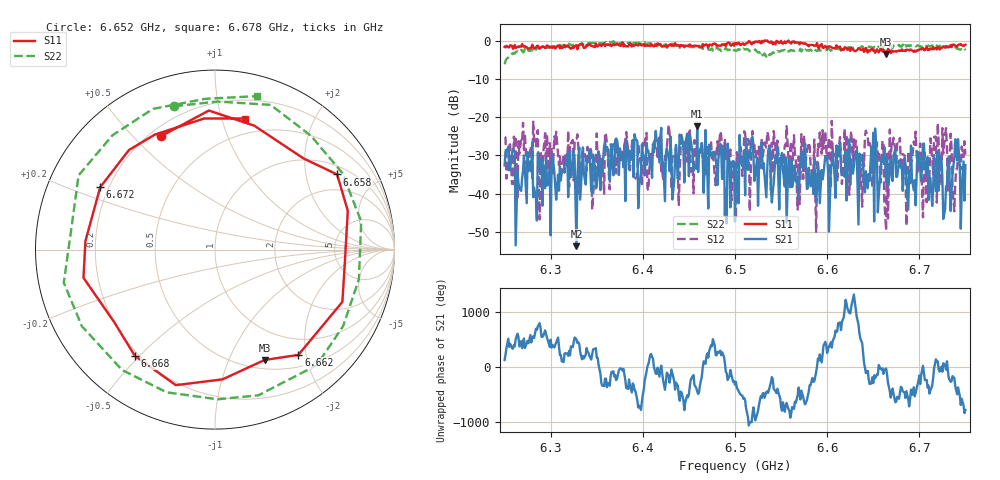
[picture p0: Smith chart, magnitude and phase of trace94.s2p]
# Hz S RI R 50
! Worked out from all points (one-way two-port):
!   401 points, 6.25 GHz to 6.75 GHz, reference 50 ohm
!   highest |S21| = -22.40 dB at 6.459 GHz (marker M1); lowest = -53.7 dB at 6.328 GHz (marker M2)
!   lowest |S11| = -3.4 dB at 6.664 GHz (marker M3), VSWR 5.14, Z = 30.2 - j68.2 ohm
!   |S11| at or under -10 dB: nowhere
!   |S22| runs from -6.1 to -0.1 dB; largest |S21 - S12| = 0.12
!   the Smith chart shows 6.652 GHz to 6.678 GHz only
!   S11 on the Smith chart (normalised r, x): 6.652 GHz: 0.24, +0.60; 6.658 GHz: 1.31, +3.02; 6.662 GHz: 0.70, -1.86; 6.668 GHz: 0.18, -0.48; 6.672 GHz: 0.17, +0.25; 6.678 GHz: 0.36, +1.19
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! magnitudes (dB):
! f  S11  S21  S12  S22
! 6.25 GHz  -1.6  -32.6  -25.2  -6.1
! 6.265 GHz  -1.6  -37.2  -26.3  -3.1
! 6.278 GHz  -1.9  -31.5  -27.6  -2.6
! 6.284 GHz  -1.7  -41.3  -27.6  -2.3
! 6.328 GHz  -1.1  -53.7  -25.7  -0.9
! 6.334 GHz  -0.9  -33.2  -29.8  -0.6
! 6.418 GHz  -1.0  -31.9  -24.8  -1.0
! 6.459 GHz  -1.3  -22.4  -30.7  -1.8
! 6.5 GHz  -0.6  -47.3  -35.9  -2.5
! 6.512 GHz  -0.7  -25.5  -27.8  -2.2
! 6.584 GHz  -1.1  -34.8  -35.6  -2.8
! 6.652 GHz  -3.1  -22.9  -31.3  -1.6
! 6.658 GHz  -2.0  -33.8  -37.1  -1.6
! 6.662 GHz  -2.5  -27.7  -41.9  -1.3
! 6.664 GHz  -3.4  -37.1  -49.6  -1.4
! 6.668 GHz  -2.6  -34.9  -23.2  -1.4
! 6.672 GHz  -2.8  -30.0  -25.4  -1.3
! 6.678 GHz  -2.5  -31.3  -27.3  -1.0
! 6.705 GHz  -2.4  -26.9  -31.7  -1.7
! 6.728 GHz  -1.8  -44.1  -24.6  -1.4
! 6.739 GHz  -1.2  -25.8  -37.3  -1.7
! 6.75 GHz  -1.0  -32.5  -29.8  -2.4
